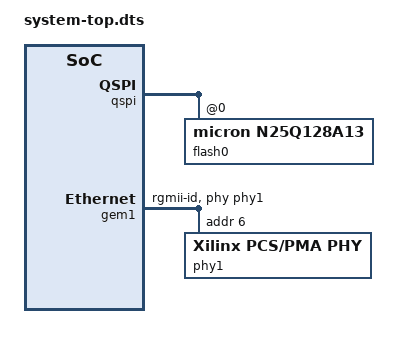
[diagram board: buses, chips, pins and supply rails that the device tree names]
/dts-v1/;
/include/ "system-conf.dtsi"
/ {
};

&qspi {
	flash0: flash@0  {
		compatible = "micron,n25q128a13";
	};
};

&gem1 {
	status = "okay";
	local-mac-address = [00 0a 35 00 1e 54];
	phy-mode = "rgmii-id";
	phy-handle = <&phy1>;

	phy1: phy@6 {
		compatible = "Xilinx PCS/PMA PHY";
		device_type = "ethernet-phy";
		xlnx,phy-type = <5>;
		reg = <6>;
	};
};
